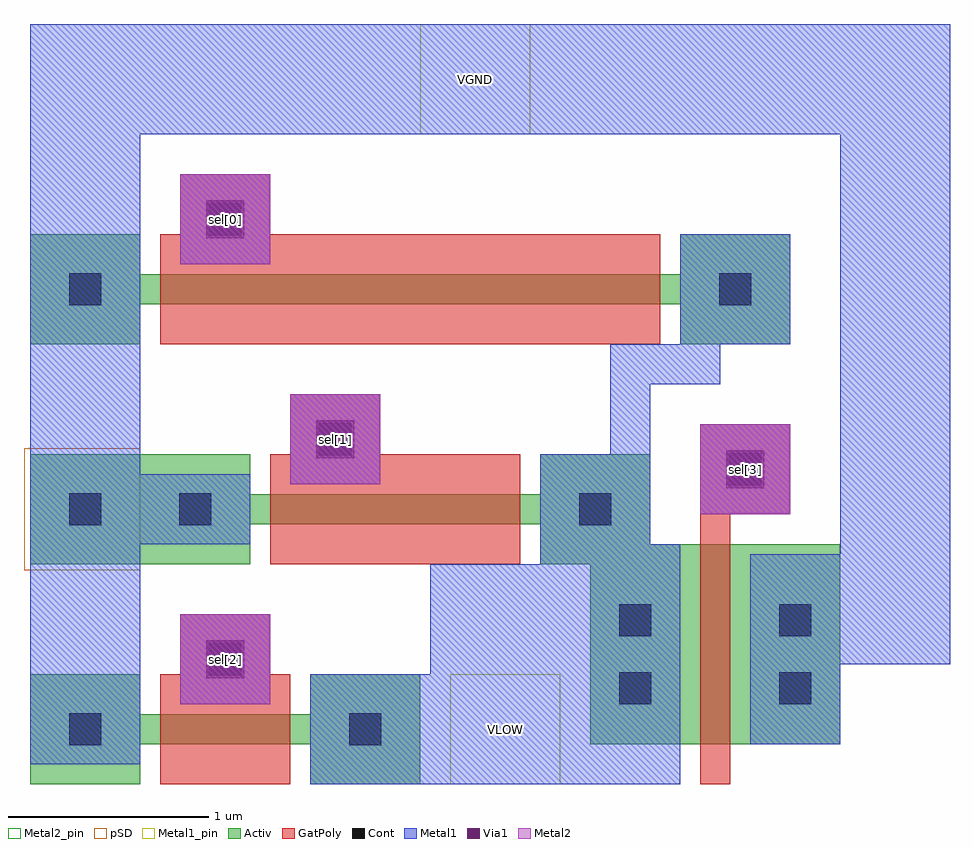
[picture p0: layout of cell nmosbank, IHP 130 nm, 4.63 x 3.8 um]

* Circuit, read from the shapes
.subckt nmosbank VGND VLOW sel[0] sel[1] sel[2] sel[3]
XM1 VLOW sel[2] VGND VGND sg13_lv_nmos w=0.15u l=0.65u
XM2 VLOW sel[0] VGND VGND sg13_lv_nmos w=0.15u l=2.5u
XM3 VLOW sel[1] VGND VGND sg13_lv_nmos w=0.15u l=1.25u
XM4 VGND sel[3] VLOW VGND sg13_lv_nmos w=1u l=0.15u
.ends

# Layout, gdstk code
import gdstk
lib = gdstk.Library(unit=1e-6, precision=1e-09)
def R(c, l, rs):  # rectangles x0, y0, x1, y1
    for r in rs: c.add(gdstk.rectangle(r[:2], r[2:], *l))
def A(c, l, x, y, w, h, nx, ny, dx, dy):  # array of equal rectangles
    R(c, l, [(x+i*dx, y+j*dy, x+i*dx+w, y+j*dy+h) for i in range(nx) for j in range(ny)])
Activ = (1, 0)
GatPoly = (5, 0)
Cont = (6, 0)
Metal1 = (8, 0)
Metal1_pin = (8, 2)
Metal2 = (10, 0)
Metal2_pin = (10, 2)
pSD = (14, 0)
Via1 = (19, 0)

nmosbank = lib.new_cell('nmosbank')
R(nmosbank, Activ, [(-0.65,-2.4,-0.1,-2.2), (0.75,-2.4,1.3,-2.2), (-0.65,-2.2,1.3,-2.05), (2.15,-2.2,3.4,-1.3), (-0.65,-2.05,-0.1,-1.85), (0.75,-2.05,1.3,-1.85), (-0.65,-1.3,0.45,-1.1), (1.9,-1.3,3.4,-1.2), (1.9,-1.2,2.45,-1.1), (-0.65,-1.1,2.45,-0.95), (-0.65,-0.95,0.45,-0.75), (1.9,-0.95,2.45,-0.75), (-0.65,-0.2,-0.1,0), (2.6,-0.2,3.15,0), (-0.65,0,3.15,0.15), (-0.65,0.15,-0.1,0.35), (2.6,0.15,3.15,0.35)])
R(nmosbank, GatPoly, [(0,-2.4,0.65,-1.85), (2.7,-2.4,2.85,-1.05), (0.1,-1.85,0.55,-1.55), (0.55,-1.3,1.8,-0.75), (2.7,-1.05,3.15,-0.6), (0.65,-0.75,1.1,-0.45), (0,-0.2,2.5,0.35), (0.1,0.35,0.55,0.65)])
A(nmosbank, Cont, -0.455, -2.205, 0.16, 0.16, 1, 3, 0, 1.1)
R(nmosbank, Cont, [(0.945,-2.205,1.105,-2.045), (2.295,-2,2.455,-1.84), (3.095,-2,3.255,-1.84), (0.245,-1.855,0.405,-1.695), (2.295,-1.66,2.455,-1.5), (3.095,-1.66,3.255,-1.5), (0.095,-1.105,0.255,-0.945), (2.095,-1.105,2.255,-0.945), (2.845,-0.905,3.005,-0.745), (0.795,-0.755,0.955,-0.595), (2.795,-0.005,2.955,0.155), (0.245,0.345,0.405,0.505)])
R(nmosbank, Metal1, [(0.75,-2.4,2.6,-1.85), (-0.65,-2.3,-0.1,-1.2), (2.95,-2.2,3.4,-1.8), (0.1,-2,0.55,-1.55), (1.35,-1.85,2.6,-1.3), (2.95,-1.8,3.95,-1.25), (1.9,-1.3,2.6,-1.2), (3.4,-1.25,3.95,0.85), (-0.65,-1.2,0.45,-0.85), (1.9,-1.2,2.45,-0.75), (2.7,-1.05,3.15,-0.6), (0.65,-0.9,1.1,-0.45), (-0.65,-0.85,-0.1,0.85), (2.25,-0.75,2.45,-0.4), (2.25,-0.4,2.8,-0.2), (2.6,-0.2,3.15,0.35), (0.1,0.2,0.55,0.65), (-0.65,0.85,3.95,1.4)])
R(nmosbank, Metal1_pin, [(1.45,-2.4,2,-1.85), (1.3,0.85,1.85,1.4)])
R(nmosbank, Metal2, [(0.1,-2,0.55,-1.55), (2.7,-1.05,3.15,-0.6), (0.65,-0.9,1.1,-0.45), (0.1,0.2,0.55,0.65)])
R(nmosbank, Metal2_pin, [(0.1,-2,0.55,-1.55), (2.7,-1.05,3.15,-0.6), (0.65,-0.9,1.1,-0.45), (0.1,0.2,0.55,0.65)])
R(nmosbank, pSD, [(-0.68,-1.33,-0.1,-0.72)])
R(nmosbank, Via1, [(0.23,-1.87,0.42,-1.68), (2.83,-0.92,3.02,-0.73), (0.78,-0.77,0.97,-0.58), (0.23,0.33,0.42,0.52)])
nmosbank.add(gdstk.Label('VLOW', (1.725,-2.125), layer=8, texttype=25))
nmosbank.add(gdstk.Label('VGND', (1.575,1.125), layer=8, texttype=25))
nmosbank.add(gdstk.Label('sel[2]', (0.325,-1.775), layer=10, texttype=25))
nmosbank.add(gdstk.Label('sel[1]', (0.875,-0.675), layer=10, texttype=25))
nmosbank.add(gdstk.Label('sel[3]', (2.925,-0.825), layer=10, texttype=25))
nmosbank.add(gdstk.Label('sel[0]', (0.325,0.425), layer=10, texttype=25))

lib.write_gds('nmosbank.gds')
